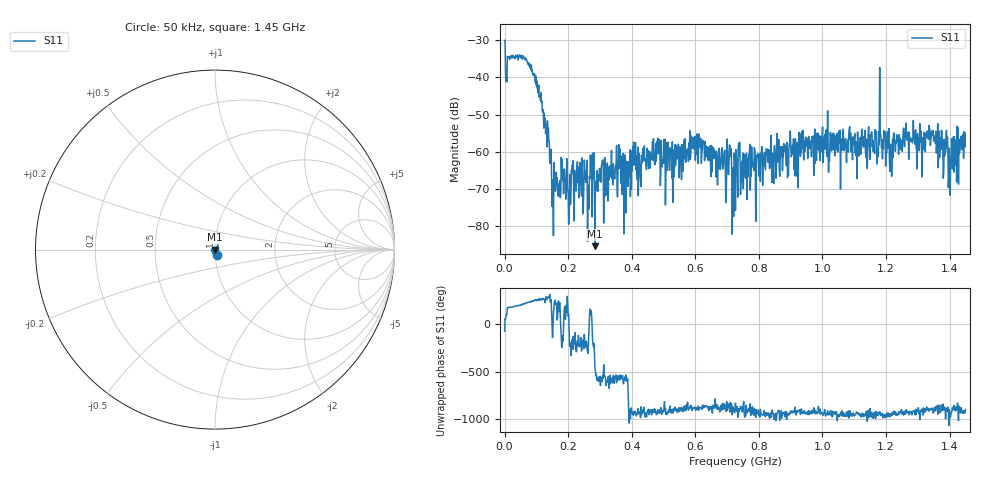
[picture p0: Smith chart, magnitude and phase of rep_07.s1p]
! Created with skrf 1.11.0 (http://scikit-rf.org).
# Hz S RI R 50.0
!freq ReS11 ImS11
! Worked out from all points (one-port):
!   1001 points, 50 kHz to 1.45 GHz, reference 50 ohm
!   lowest |S11| = -85.3 dB at 284.2 MHz (marker M1), VSWR 1.00, Z = 50 - j0.0054 ohm
!   |S11| at or under -10 dB: start of sweep to end of sweep
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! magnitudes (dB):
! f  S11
! 50 kHz  -30.1
! 87.05 MHz  -37.9
! 132 MHz  -52.6
! 155.2 MHz  -62.9
! 181.3 MHz  -62.0
! 200.1 MHz  -71.1
! 233.5 MHz  -72.3
! 268.3 MHz  -67.3
! 274.1 MHz  -66.9
! 284.2 MHz  -85.3
! 362.5 MHz  -59.2
! 381.4 MHz  -76.4
! 407.5 MHz  -62.8
! 422 MHz  -67.0
! 543.8 MHz  -58.9
! 619.2 MHz  -63.0
! 691.7 MHz  -59.8
! 707.6 MHz  -58.1
! 725 MHz  -64.3
! 906.3 MHz  -58.3
! 1.088 GHz  -56.7
! 1.111 GHz  -54.6
! 1.188 GHz  -56.7
! 1.218 GHz  -66.5
! 1.269 GHz  -56.7
! 1.343 GHz  -55.5
! 1.402 GHz  -71.6
! 1.45 GHz  -58.6
